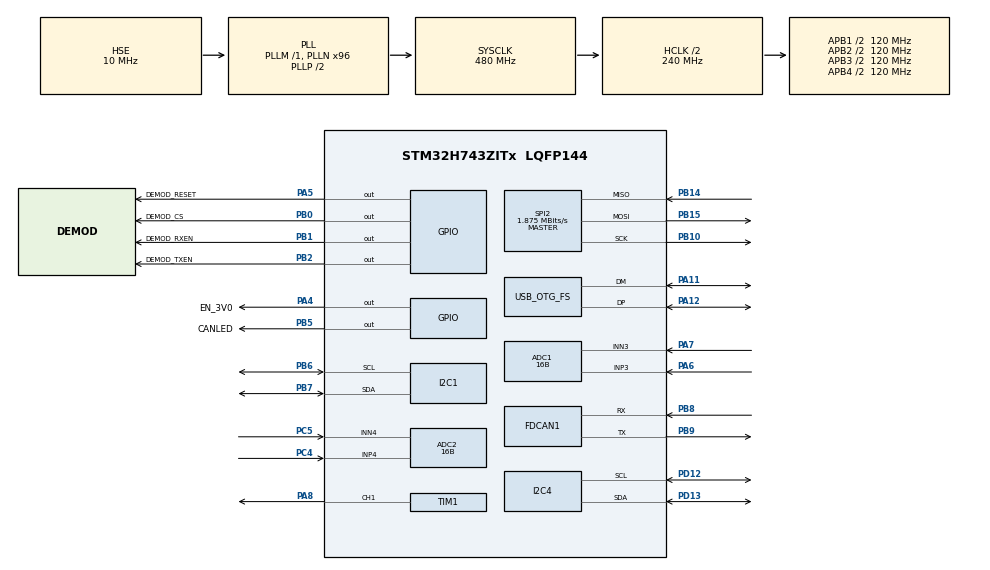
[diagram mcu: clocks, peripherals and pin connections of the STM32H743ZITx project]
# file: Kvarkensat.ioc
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ADC1.Channel-3\#ChannelRegularConversion=ADC_CHANNEL_3
ADC1.ContinuousConvMode=DISABLE
ADC1.ConversionDataManagement=ADC_CONVERSIONDATA_DMA_CIRCULAR
ADC1.DMAAccessModeView=ENABLE
ADC1.EOCSelection=ADC_EOC_SINGLE_CONV
ADC1.EnableInjectedConversion=ENABLE
ADC1.EnableRegularConversion=ENABLE
ADC1.ExternalTrigConv=ADC_EXTERNALTRIG_T2_TRGO
ADC1.InjNumberOfConversion=0
ADC1.Mode=ADC_DUALMODE_REGSIMULT
ADC1.NbrOfConversionFlag=1
ADC1.OffsetNumber-3\#ChannelRegularConversion=ADC_OFFSET_NONE
ADC1.OffsetSignedSaturation-3\#ChannelRegularConversion=DISABLE
ADC1.Overrun=ADC_OVR_DATA_OVERWRITTEN
ADC1.Rank-3\#ChannelRegularConversion=1
ADC1.Resolution=ADC_RESOLUTION_16B
ADC1.SamplingTime-3\#ChannelRegularConversion=ADC_SAMPLETIME_1CYCLE_5
ADC1.SingleDiff-3\#ChannelRegularConversion=ADC_DIFFERENTIAL_ENDED
ADC1.master=1
ADC2.Channel-3\#ChannelRegularConversion=ADC_CHANNEL_4
ADC2.ContinuousConvMode=DISABLE
ADC2.DMAAccessModeView=ENABLE
ADC2.Mode=ADC_DUALMODE_REGSIMULT
ADC2.NbrOfConversionFlag=1
ADC2.OffsetNumber-3\#ChannelRegularConversion=ADC_OFFSET_NONE
ADC2.OffsetSignedSaturation-3\#ChannelRegularConversion=DISABLE
ADC2.Overrun=ADC_OVR_DATA_OVERWRITTEN
ADC2.Rank-3\#ChannelRegularConversion=1
ADC2.Resolution=ADC_RESOLUTION_16B
ADC2.SamplingTime-3\#ChannelRegularConversion=ADC_SAMPLETIME_16CYCLES_5
ADC2.SingleDiff-3\#ChannelRegularConversion=ADC_DIFFERENTIAL_ENDED
ADC3.Channel-0\#ChannelRegularConversion=ADC_CHANNEL_TEMPSENSOR
ADC3.ClockPrescaler=ADC_CLOCK_ASYNC_DIV1
ADC3.ContinuousConvMode=ENABLE
ADC3.ConversionDataManagement=ADC_CONVERSIONDATA_DR
ADC3.DMAAccessModeView=ENABLE
ADC3.EOCSelection=ADC_EOC_SEQ_CONV
ADC3.Mode=ADC_DUALMODE_REGSIMULT
ADC3.NbrOfConversion=1
ADC3.NbrOfConversionFlag=1
ADC3.OffsetNumber-0\#ChannelRegularConversion=ADC_OFFSET_NONE
ADC3.OffsetSignedSaturation-0\#ChannelRegularConversion=DISABLE
ADC3.Overrun=ADC_OVR_DATA_OVERWRITTEN
ADC3.Rank-0\#ChannelRegularConversion=1
ADC3.Resolution=ADC_RESOLUTION_12B
ADC3.SamplingTime-0\#ChannelRegularConversion=ADC_SAMPLETIME_810CYCLES_5
Dma.ADC1.0.Direction=DMA_PERIPH_TO_MEMORY
Dma.ADC1.0.EventEnable=DISABLE
Dma.ADC1.0.FIFOMode=DMA_FIFOMODE_ENABLE
Dma.ADC1.0.FIFOThreshold=DMA_FIFO_THRESHOLD_FULL
Dma.ADC1.0.Instance=DMA2_Stream0
Dma.ADC1.0.MemBurst=DMA_MBURST_SINGLE
Dma.ADC1.0.MemDataAlignment=DMA_MDATAALIGN_HALFWORD
Dma.ADC1.0.MemInc=DMA_MINC_ENABLE
Dma.ADC1.0.Mode=DMA_CIRCULAR
Dma.ADC1.0.PeriphBurst=DMA_PBURST_SINGLE
Dma.ADC1.0.PeriphDataAlignment=DMA_PDATAALIGN_HALFWORD
Dma.ADC1.0.PeriphInc=DMA_PINC_DISABLE
Dma.ADC1.0.Polarity=HAL_DMAMUX_REQ_GEN_RISING
Dma.ADC1.0.Priority=DMA_PRIORITY_HIGH
Dma.ADC1.0.RequestNumber=1
Dma.ADC1.0.SignalID=NONE
Dma.ADC1.0.SyncEnable=DISABLE
Dma.ADC1.0.SyncPolarity=HAL_DMAMUX_SYNC_NO_EVENT
Dma.ADC1.0.SyncRequestNumber=1
Dma.ADC1.0.SyncSignalID=NONE
Dma.ADC2.1.Direction=DMA_PERIPH_TO_MEMORY
Dma.ADC2.1.EventEnable=DISABLE
Dma.ADC2.1.FIFOMode=DMA_FIFOMODE_ENABLE
Dma.ADC2.1.FIFOThreshold=DMA_FIFO_THRESHOLD_FULL
Dma.ADC2.1.Instance=DMA2_Stream1
Dma.ADC2.1.MemBurst=DMA_MBURST_SINGLE
Dma.ADC2.1.MemDataAlignment=DMA_MDATAALIGN_WORD
Dma.ADC2.1.MemInc=DMA_MINC_ENABLE
Dma.ADC2.1.Mode=DMA_CIRCULAR
Dma.ADC2.1.PeriphBurst=DMA_PBURST_SINGLE
Dma.ADC2.1.PeriphDataAlignment=DMA_PDATAALIGN_WORD
Dma.ADC2.1.PeriphInc=DMA_PINC_DISABLE
Dma.ADC2.1.Polarity=HAL_DMAMUX_REQ_GEN_RISING
Dma.ADC2.1.Priority=DMA_PRIORITY_HIGH
Dma.ADC2.1.RequestNumber=1
Dma.ADC2.1.SignalID=NONE
Dma.ADC2.1.SyncEnable=DISABLE
Dma.ADC2.1.SyncPolarity=HAL_DMAMUX_SYNC_NO_EVENT
Dma.ADC2.1.SyncRequestNumber=1
Dma.ADC2.1.SyncSignalID=NONE
Dma.Request0=ADC1
Dma.Request1=ADC2
FDCAN1.Mode=FDCAN_MODE_EXTERNAL_LOOPBACK
FDCAN1.RxFifo0ElmtsNbr=20
FDCAN1.TxFifoQueueElmtsNbr=1
I2C1.Timing=0x307075B1
I2C4.Timing=0x307075B1
Mcu.Family=STM32H7
Mcu.Name=STM32H743ZITx
Mcu.Package=LQFP144
NVIC.ADC_IRQn=true\:0\:0\:false\:false\:true\:true\:true\:true
NVIC.DMA2_Stream0_IRQn=true\:0\:0\:false\:false\:true\:false\:true\:true
NVIC.DMA2_Stream1_IRQn=true\:0\:0\:false\:false\:true\:false\:true\:true
NVIC.FDCAN1_IT0_IRQn=true\:0\:0\:false\:false\:true\:true\:true\:true
NVIC.FDCAN1_IT1_IRQn=true\:0\:0\:false\:false\:true\:true\:true\:true
NVIC.OTG_FS_IRQn=true\:0\:0\:false\:false\:true\:false\:true\:true
NVIC.PriorityGroup=NVIC_PRIORITYGROUP_4
NVIC.RCC_IRQn=true\:0\:0\:false\:false\:true\:true\:false\:true
NVIC.TIM2_IRQn=true\:0\:0\:false\:false\:true\:true\:true\:true
NVIC.TIM7_IRQn=true\:15\:0\:false\:false\:true\:false\:true\:true
NVIC.TimeBase=TIM7_IRQn
NVIC.TimeBaseIP=TIM7
PA10.Signal=USART1_RX
PA11.Mode=Device_Only
PA11.Signal=USB_OTG_FS_DM
PA12.Mode=Device_Only
PA12.Signal=USB_OTG_FS_DP
PA13\ (JTMS/SWDIO).Mode=JTAG_5_pins
PA13\ (JTMS/SWDIO).Signal=DEBUG_JTMS-SWDIO
PA14\ (JTCK/SWCLK).Mode=JTAG_5_pins
PA14\ (JTCK/SWCLK).Signal=DEBUG_JTCK-SWCLK
PA15\ (JTDI).Mode=JTAG_5_pins
PA15\ (JTDI).Signal=DEBUG_JTDI
PA4.GPIO_Label=EN_3V0
PA4.Signal=GPIO_Output
PA5.GPIO_Label=DEMOD_RESET
PA5.PinState=GPIO_PIN_SET
PA5.Signal=GPIO_Output
PA6.Signal=ADCx_INP3
PA7.Signal=ADCx_INN3
PA8.Signal=S_TIM1_CH1
PA9.Signal=USART1_TX
PB0.GPIO_Label=DEMOD_CS
PB0.PinState=GPIO_PIN_SET
PB0.Signal=GPIO_Output
PB1.GPIO_Label=DEMOD_RXEN
PB1.Signal=GPIO_Output
PB10.Mode=Full_Duplex_Master
PB10.Signal=SPI2_SCK
PB13.Signal=FDCAN2_TX
PB14.Mode=Full_Duplex_Master
PB14.Signal=SPI2_MISO
PB15.Mode=Full_Duplex_Master
PB15.Signal=SPI2_MOSI
PB2.GPIO_Label=DEMOD_TXEN
PB2.Signal=GPIO_Output
PB3\ (JTDO/TRACESWO).Mode=JTAG_5_pins
PB3\ (JTDO/TRACESWO).Signal=DEBUG_JTDO-SWO
PB4\ (NJTRST).Mode=JTAG_5_pins
PB4\ (NJTRST).Signal=DEBUG_JTRST
PB5.GPIO_Label=CANLED
PB5.Signal=GPIO_Output
PB6.GPIO_Pu=GPIO_PULLUP
PB6.Mode=I2C
PB6.Signal=I2C1_SCL
PB7.GPIO_Pu=GPIO_PULLUP
PB7.Mode=I2C
PB7.Signal=I2C1_SDA
PB8.Mode=FDCAN_Activate
PB8.Signal=FDCAN1_RX
PB9.Mode=FDCAN_Activate
PB9.Signal=FDCAN1_TX
PC0.Signal=FMC_SDNWE
PC10.Signal=SPI3_SCK
PC11.Signal=SPI3_MISO
PC12.Signal=SPI3_MOSI
PC2_C.Signal=FMC_SDNE0
PC3_C.Signal=FMC_SDCKE0
PC4.Signal=ADCx_INP4
PC5.Signal=ADCx_INN4
PD0.Signal=FMC_D2_DA2
PD1.Signal=FMC_D3_DA3
PD10.Signal=FMC_D15_DA15
PD12.GPIO_Pu=GPIO_PULLUP
PD12.Mode=I2C
PD12.Signal=I2C4_SCL
PD13.GPIO_Pu=GPIO_PULLUP
PD13.Mode=I2C
PD13.Signal=I2C4_SDA
PD14.Signal=FMC_D0_DA0
PD15.Signal=FMC_D1_DA1
PD8.Signal=FMC_D13_DA13
PD9.Signal=FMC_D14_DA14
PE10.Signal=FMC_D7_DA7
PE11.Signal=FMC_D8_DA8
PE12.Signal=FMC_D9_DA9
PE13.Signal=FMC_D10_DA10
PE14.Signal=FMC_D11_DA11
PE15.Signal=FMC_D12_DA12
PE2.Signal=SPI4_SCK
PE4.Signal=SPI4_NSS
PE5.Signal=SPI4_MISO
PE6.Signal=SPI4_MOSI
PE7.Signal=FMC_D4_DA4
PE8.Signal=FMC_D5_DA5
PE9.Signal=FMC_D6_DA6
PF0.Signal=FMC_A0
PF1.Signal=FMC_A1
PF11.Signal=FMC_SDNRAS
PF12.Signal=FMC_A6
PF13.Signal=FMC_A7
PF14.Signal=FMC_A8
PF15.Signal=FMC_A9
PF2.Signal=FMC_A2
PF3.Signal=FMC_A3
PF4.Signal=FMC_A4
PF5.Signal=FMC_A5
PG0.Signal=FMC_A10
PG1.Signal=FMC_A11
PG15.Signal=FMC_SDNCAS
PG2.Signal=FMC_A12
PG4.Signal=FMC_A14_BA0
PG5.Signal=FMC_A15_BA1
PG8.Signal=FMC_SDCLK
PH0-OSC_IN\ (PH0).Mode=HSE-External-Oscillator
PH0-OSC_IN\ (PH0).Signal=RCC_OSC_IN
PH1-OSC_OUT\ (PH1).Mode=HSE-External-Oscillator
PH1-OSC_OUT\ (PH1).Signal=RCC_OSC_OUT
ProjectManager.HeapSize=0x200
ProjectManager.StackSize=0x400
ProjectManager.TargetToolchain=STM32CubeIDE
RCC.ADCCLockSelection=RCC_ADCCLKSOURCE_PLL3
RCC.ADCFreq_Value=10000000
RCC.APB1Freq_Value=120000000
RCC.APB2Freq_Value=120000000
RCC.APB3Freq_Value=120000000
RCC.APB4Freq_Value=120000000
RCC.CortexFreq_Value=480000000
RCC.D1PPRE=RCC_APB3_DIV2
RCC.D2PPRE1=RCC_APB1_DIV2
RCC.D2PPRE2=RCC_APB2_DIV2
RCC.D3PPRE=RCC_APB4_DIV2
RCC.DIVM1=1
RCC.DIVM2=1
RCC.DIVM3=1
RCC.DIVN1=96
RCC.DIVN2=15
RCC.DIVN3=15
RCC.DIVP2=4
RCC.DIVQ1=8
RCC.DIVQ3=3
RCC.DIVR3=15
RCC.HCLKFreq_Value=240000000
RCC.HPRE=RCC_HCLK_DIV2
RCC.HSE_VALUE=10000000
RCC.PLL2FRACN=0
RCC.PLL3FRACN=0
RCC.PLLFRACN=0
RCC.PLLSourceVirtual=RCC_PLLSOURCE_HSE
RCC.ProductRev=revY
RCC.RCC_TIM_PRescaler_Selection=RCC_TIMPRES_DESACTIVATED
RCC.SYSCLKFreq_VALUE=480000000
RCC.SYSCLKSource=RCC_SYSCLKSOURCE_PLLCLK
RCC.USBCLockSelection=RCC_USBCLKSOURCE_PLL3
RCC.USBFreq_Value=50000000
SH.ADCx_INN3.0=ADC1_INN3,IN3-Differential
SH.ADCx_INN4.0=ADC2_INN4,IN4-Differential
SH.ADCx_INP3.0=ADC1_INP3,IN3-Differential
SH.ADCx_INP4.0=ADC2_INP4,IN4-Differential
SH.FMC_A0.0=FMC_A0
SH.FMC_A1.0=FMC_A1
SH.FMC_A10.0=FMC_A10
SH.FMC_A11.0=FMC_A11
SH.FMC_A12.0=FMC_A12
SH.FMC_A14_BA0.0=FMC_BA0
SH.FMC_A15_BA1.0=FMC_BA1
SH.FMC_A2.0=FMC_A2
SH.FMC_A3.0=FMC_A3
SH.FMC_A4.0=FMC_A4
SH.FMC_A5.0=FMC_A5
SH.FMC_A6.0=FMC_A6
SH.FMC_A7.0=FMC_A7
SH.FMC_A8.0=FMC_A8
SH.FMC_A9.0=FMC_A9
SH.FMC_D0_DA0.0=FMC_D0
SH.FMC_D10_DA10.0=FMC_D10
SH.FMC_D11_DA11.0=FMC_D11
SH.FMC_D12_DA12.0=FMC_D12
SH.FMC_D13_DA13.0=FMC_D13
SH.FMC_D14_DA14.0=FMC_D14
SH.FMC_D15_DA15.0=FMC_D15
SH.FMC_D1_DA1.0=FMC_D1
SH.FMC_D2_DA2.0=FMC_D2
SH.FMC_D3_DA3.0=FMC_D3
SH.FMC_D4_DA4.0=FMC_D4
SH.FMC_D5_DA5.0=FMC_D5
SH.FMC_D6_DA6.0=FMC_D6
SH.FMC_D7_DA7.0=FMC_D7
SH.FMC_D8_DA8.0=FMC_D8
SH.FMC_D9_DA9.0=FMC_D9
SH.FMC_SDCLK.0=FMC_SDCLK
SH.FMC_SDNCAS.0=FMC_SDNCAS
SH.FMC_SDNRAS.0=FMC_SDNRAS
SH.FMC_SDNWE.0=FMC_SDNWE
SH.S_TIM1_CH1.0=TIM1_CH1,Output Compare1 CH1
SPI2.BaudRatePrescaler=SPI_BAUDRATEPRESCALER_64
SPI2.CalculateBaudRate=1.875 MBits/s
SPI2.DataSize=SPI_DATASIZE_8BIT
SPI2.Direction=SPI_DIRECTION_2LINES
SPI2.Mode=SPI_MODE_MASTER
SPI2.NSSPMode=SPI_NSS_PULSE_DISABLE
SPI2.VirtualType=VM_MASTER
TIM1.Channel-Output\ Compare1\ CH1=TIM_CHANNEL_1
TIM1.Period=500-1
TIM1.TIM_MasterOutputTrigger=TIM_TRGO_UPDATE
TIM2.AutoReloadPreload=TIM_AUTORELOAD_PRELOAD_ENABLE
TIM2.Channel-Output\ Compare1\ No\ Output=TIM_CHANNEL_1
TIM2.Period=833-1
TIM2.TIM_MasterOutputTrigger=TIM_TRGO_UPDATE
USB_DEVICE.CLASS_NAME_FS=CDC
USB_DEVICE.VirtualMode-CDC_FS=Cdc
USB_DEVICE.VirtualModeFS=Cdc_FS
USB_OTG_FS.VirtualMode=Device_Only
VP_ADC3_TempSens_Input.Mode=IN-TempSens
VP_SYS_VS_tim7.Mode=TIM7
VP_TIM1_VS_ClockSourceINT.Mode=Internal
VP_TIM2_VS_ClockSourceINT.Mode=Internal
VP_TIM2_VS_no_output1.Mode=Output Compare1 No Output
VP_USB_DEVICE_VS_USB_DEVICE_CDC_FS.Mode=CDC_FS
board=custom

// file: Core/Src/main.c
/* USER CODE BEGIN Header */
/**
  ******************************************************************************
  * @file           : main.c
  * @brief          : Main program body
  ******************************************************************************
  * @attention
  *
  * Copyright (c) 2022 STMicroelectronics.
  * All rights reserved.
  *
  * This software is licensed under terms that can be found in the LICENSE file
  * in the root directory of this software component.
  * If no LICENSE file comes with this software, it is provided AS-IS.
  *
  ******************************************************************************
  */
/* USER CODE END Header */

/* USER CODE BEGIN Includes */
/* Includes ------------------------------------------------------------------*/

/* Private includes ----------------------------------------------------------*/
/* USER CODE BEGIN Includes */
#include <stdio.h>

#include "main.h"
#include "adc.h"
#include "dsp.h"
#include "dsp_testing.h"
#include "saved_signal.h"

//FreeRTOS
#include "FreeRTOS.h"
#include "task.h"
#include "timers.h"
#include "semphr.h"
#include "SEGGER_RTT.h"
#include "events.h"

//User
#include "receiver.h"
#include "debugRTT.h"
#include "can_interface.h"
/* USER CODE END Includes */

/* USER CODE BEGIN PTD */
#define TERMINAL_PRIORITY 	(tskIDLE_PRIORITY + 1)
#define BLINK_PRIORITY 		(tskIDLE_PRIORITY + 2)
#define DSP_PRIORITY		(tskIDLE_PRIORITY + 5)
#define DSP_TEST_PRIORITY	(tskIDLE_PRIORITY + 6)
#define CSP_PRIORITY		(tskIDLE_PRIORITY + 10)

#define DSP_STACK_SIZE		400	// TODO: TBD

/* USER CODE END PTD */

/* USER CODE BEGIN PD */

/* Task handle declarations */
TaskHandle_t ADCTaskHandle = NULL;
TaskHandle_t DSPTaskHandle = NULL;

/* USER CODE END PD */

 ADC_HandleTypeDef hadc1;
ADC_HandleTypeDef hadc2;
ADC_HandleTypeDef hadc3;
DMA_HandleTypeDef hdma_adc1;
DMA_HandleTypeDef hdma_adc2;

/*
FDCAN_HandleTypeDef hfdcan1;
FDCAN_RxHeaderTypeDef RxHeader; //FDCAN Bus Transmit Header
FDCAN_TxHeaderTypeDef TxHeader; //FDCAN Bus Receive Header
*/

I2C_HandleTypeDef hi2c1;
I2C_HandleTypeDef hi2c4;

SPI_HandleTypeDef hspi2;

TIM_HandleTypeDef htim1;
TIM_HandleTypeDef htim2;

/* USER CODE BEGIN PV */
volatile struct eventflags eventflags;

/* USER CODE END PV */

void SystemClock_Config(void);
void PeriphCommonClock_Config(void);
static void MX_GPIO_Init(void);
static void MX_DMA_Init(void);
static void MX_FDCAN1_Init(void);
static void MX_I2C1_Init(void);
static void MX_I2C4_Init(void);
static void MX_SPI2_Init(void);
static void MX_ADC1_Init(void);
static void MX_ADC3_Init(void);
static void MX_ADC2_Init(void);
static void MX_TIM2_Init(void);
static void MX_TIM1_Init(void);
/* USER CODE BEGIN PFP */

void PeriphCommonClock_Config(void);								// CubeMX did not generate this :(

/* USER CODE END PFP */

/* USER CODE BEGIN 0 */

/* Initializes all needed peripherials */
static void prvInitBoard()
{

	HAL_Init();
	SystemClock_Config();
	PeriphCommonClock_Config();
	MX_GPIO_Init();
	MX_DMA_Init();
	MX_FDCAN1_Init();
	MX_I2C1_Init();
	MX_I2C4_Init();
	MX_SPI2_Init();
	MX_ADC1_Init();
	MX_ADC3_Init();
	MX_ADC2_Init();
	MX_TIM1_Init();
	MX_TIM2_Init();

	SEGGER_RTT_Init();
	printf("\nConfiguring radio..\n");
	configureRadio();
	printf("Radio configured! \nPLL should be locked above^^\n\n");

	/* Set Interrupt Group Priority */
	HAL_NVIC_SetPriorityGrouping(NVIC_PRIORITYGROUP_4);
	/*Configure the SysTick and FDCAN IRQ priority */
	HAL_NVIC_SetPriority(SysTick_IRQn, 15 ,0U);
	HAL_NVIC_SetPriority(FDCAN1_IT0_IRQn, 15 ,0U);

	/* Start ADCs in Multimode DMA configuration */
	//if(HAL_ADCEx_MultiModeStart_DMA(ADCI, adcIQ.rx_buf, ADC_RX_BUF_SIZE) != HAL_OK)
	//	Error_Handler();

	/* Start TIM2 to produce interrupts for ADC conversion triggering */
	//if(HAL_TIM_OC_Start_IT(&htim2, TIM_CHANNEL_1) != HAL_OK)	// At least the timer starts and triggers interrupts. Interrupts probably are not needed in the end.
	//	Error_Handler();
}

//MEMORY MAPPING FOR FREERTOS
HeapRegion_t xHeapRegions[] = {
	//DTCMRAM	108 KB // ~20 KB reserved for HAL
	{ (uint8_t*) 0x20005000, 108000 },
	//RAM_D1	512 KB
	{ (uint8_t*) 0x24000000, 512000 },
	//RAM_D2	288 KB
	{ (uint8_t*) 0x30000000, 288000 },
	//RAM_D3	64 KB
	{ (uint8_t*) 0x38000000, 64000 },
	{NULL, 0}
};

/* USER CODE END 0 */

int main(void)
{
  /* USER CODE BEGIN 1 */

	//Nothing can be allocated before this has finished executing.
	vPortDefineHeapRegions( xHeapRegions );
	prvInitBoard();

	xTaskCreate( canTXTask, "CAN_TX", 4096, NULL, TERMINAL_PRIORITY + 1, NULL );

	/* Blinks the LED */
	//xTaskCreate( prvBlinkLED, "LED", configMINIMAL_STACK_SIZE, NULL, BLINK_PRIORITY, NULL );

	/* Moves test data in between PC (python) & µC over RTT buffers */
	//xTaskCreate( prvDSPTestingTask, "DSPtest", 100, NULL, DSP_TEST_PRIORITY, NULL );

	/* Task taking care of digital signal processing */
	//xTaskCreate( prvDSPTask, "DSP", DSP_STACK_SIZE, NULL,  DSP_PRIORITY, &DSPTaskHandle );

	/* Start the tasks and timer running. */
	vTaskStartScheduler();

	for( ;; );

  /* USER CODE END 1 */

  /* MCU Configuration--------------------------------------------------------*/

  /* Reset of all peripherals, Initializes the Flash interface and the Systick. */
  HAL_Init();

  /* Configure the system clock */
  SystemClock_Config();

  /* USER CODE BEGIN SysInit */

  /* Configure the peripherals common clocks */
  PeriphCommonClock_Config();						// CubeMX did not generate this :(

  /* USER CODE END SysInit */

  /* Initialize all configured peripherals */
  MX_GPIO_Init();
  MX_DMA_Init();
  MX_FDCAN1_Init();
  MX_I2C1_Init();
  MX_I2C4_Init();
  MX_SPI2_Init();
  MX_ADC1_Init();
  MX_ADC3_Init();
  MX_ADC2_Init();
  MX_TIM2_Init();
  MX_TIM1_Init();

  /* Infinite loop */
  while (1)
  {

  }
}

void SystemClock_Config(void)
{
  RCC_OscInitTypeDef RCC_OscInitStruct = {0};
  RCC_ClkInitTypeDef RCC_ClkInitStruct = {0};

  /** Supply configuration update enable
  */
  HAL_PWREx_ConfigSupply(PWR_LDO_SUPPLY);

  /** Configure the main internal regulator output voltage
  */
  __HAL_PWR_VOLTAGESCALING_CONFIG(PWR_REGULATOR_VOLTAGE_SCALE0);

  while(!__HAL_PWR_GET_FLAG(PWR_FLAG_VOSRDY)) {}

  /** Macro to configure the PLL clock source
  */
  __HAL_RCC_PLL_PLLSOURCE_CONFIG(RCC_PLLSOURCE_HSE);

  /** Initializes the RCC Oscillators according to the specified parameters
  * in the RCC_OscInitTypeDef structure.
  */
  RCC_OscInitStruct.OscillatorType = RCC_OSCILLATORTYPE_HSE;
  RCC_OscInitStruct.HSEState = RCC_HSE_ON;
  RCC_OscInitStruct.PLL.PLLState = RCC_PLL_ON;
  RCC_OscInitStruct.PLL.PLLSource = RCC_PLLSOURCE_HSE;
  RCC_OscInitStruct.PLL.PLLM = 1;
  RCC_OscInitStruct.PLL.PLLN = 96;
  RCC_OscInitStruct.PLL.PLLP = 2;
  RCC_OscInitStruct.PLL.PLLQ = 8;
  RCC_OscInitStruct.PLL.PLLR = 2;
  RCC_OscInitStruct.PLL.PLLRGE = RCC_PLL1VCIRANGE_3;
  RCC_OscInitStruct.PLL.PLLVCOSEL = RCC_PLL1VCOWIDE;
  RCC_OscInitStruct.PLL.PLLFRACN = 0;
  if (HAL_RCC_OscConfig(&RCC_OscInitStruct) != HAL_OK)
  {
    Error_Handler();
  }

  /** Initializes the CPU, AHB and APB buses clocks
  */
  RCC_ClkInitStruct.ClockType = RCC_CLOCKTYPE_HCLK|RCC_CLOCKTYPE_SYSCLK
                              |RCC_CLOCKTYPE_PCLK1|RCC_CLOCKTYPE_PCLK2
                              |RCC_CLOCKTYPE_D3PCLK1|RCC_CLOCKTYPE_D1PCLK1;
  RCC_ClkInitStruct.SYSCLKSource = RCC_SYSCLKSOURCE_PLLCLK;
  RCC_ClkInitStruct.SYSCLKDivider = RCC_SYSCLK_DIV1;
  RCC_ClkInitStruct.AHBCLKDivider = RCC_HCLK_DIV2;
  RCC_ClkInitStruct.APB3CLKDivider = RCC_APB3_DIV2;
  RCC_ClkInitStruct.APB1CLKDivider = RCC_APB1_DIV2;
  RCC_ClkInitStruct.APB2CLKDivider = RCC_APB2_DIV2;
  RCC_ClkInitStruct.APB4CLKDivider = RCC_APB4_DIV2;

  if (HAL_RCC_ClockConfig(&RCC_ClkInitStruct, FLASH_LATENCY_4) != HAL_OK)
  {
    Error_Handler();
  }
}

static void MX_ADC1_Init(void)
{

  ADC_MultiModeTypeDef multimode = {0};
  ADC_ChannelConfTypeDef sConfig = {0};

  /** Common config
  */
  hadc1.Instance = ADC1;
  hadc1.Init.Resolution = ADC_RESOLUTION_16B;
  hadc1.Init.ScanConvMode = ADC_SCAN_DISABLE;
  hadc1.Init.EOCSelection = ADC_EOC_SINGLE_CONV;
  hadc1.Init.LowPowerAutoWait = DISABLE;
  hadc1.Init.ContinuousConvMode = DISABLE;
  hadc1.Init.NbrOfConversion = 1;
  hadc1.Init.DiscontinuousConvMode = DISABLE;
  hadc1.Init.ExternalTrigConv = ADC_EXTERNALTRIG_T2_TRGO;
  hadc1.Init.ExternalTrigConvEdge = ADC_EXTERNALTRIGCONVEDGE_RISING;
  hadc1.Init.ConversionDataManagement = ADC_CONVERSIONDATA_DMA_CIRCULAR;
  hadc1.Init.Overrun = ADC_OVR_DATA_OVERWRITTEN;
  hadc1.Init.LeftBitShift = ADC_LEFTBITSHIFT_NONE;
  hadc1.Init.OversamplingMode = DISABLE;
  if (HAL_ADC_Init(&hadc1) != HAL_OK)
  {
    Error_Handler();
  }

  /** Configure the ADC multi-mode
  */
  multimode.Mode = ADC_DUALMODE_REGSIMULT;
  multimode.DualModeData = ADC_DUALMODEDATAFORMAT_32_10_BITS;
  multimode.TwoSamplingDelay = ADC_TWOSAMPLINGDELAY_1CYCLE;
  if (HAL_ADCEx_MultiModeConfigChannel(&hadc1, &multimode) != HAL_OK)
  {
    Error_Handler();
  }

  /** Configure Regular Channel
  */
  sConfig.Channel = ADC_CHANNEL_3;
  sConfig.Rank = ADC_REGULAR_RANK_1;
  sConfig.SamplingTime = ADC_SAMPLETIME_1CYCLE_5;
  sConfig.SingleDiff = ADC_DIFFERENTIAL_ENDED;
  sConfig.OffsetNumber = ADC_OFFSET_NONE;
  sConfig.Offset = 0;
  sConfig.OffsetSignedSaturation = DISABLE;
  if (HAL_ADC_ConfigChannel(&hadc1, &sConfig) != HAL_OK)
  {
    Error_Handler();
  }

}

static void MX_ADC2_Init(void)
{

  ADC_ChannelConfTypeDef sConfig = {0};

  /** Common config
  */
  hadc2.Instance = ADC2;
  hadc2.Init.Resolution = ADC_RESOLUTION_16B;
  hadc2.Init.ScanConvMode = ADC_SCAN_DISABLE;
  hadc2.Init.EOCSelection = ADC_EOC_SINGLE_CONV;
  hadc2.Init.LowPowerAutoWait = DISABLE;
  hadc2.Init.ContinuousConvMode = DISABLE;
  hadc2.Init.NbrOfConversion = 1;
  hadc2.Init.DiscontinuousConvMode = DISABLE;
  hadc2.Init.ConversionDataManagement = ADC_CONVERSIONDATA_DR;
  hadc2.Init.Overrun = ADC_OVR_DATA_OVERWRITTEN;
  hadc2.Init.LeftBitShift = ADC_LEFTBITSHIFT_NONE;
  hadc2.Init.OversamplingMode = DISABLE;
  if (HAL_ADC_Init(&hadc2) != HAL_OK)
  {
    Error_Handler();
  }

  /** Configure Regular Channel
  */
  sConfig.Channel = ADC_CHANNEL_4;
  sConfig.Rank = ADC_REGULAR_RANK_1;
  sConfig.SamplingTime = ADC_SAMPLETIME_16CYCLES_5;
  sConfig.SingleDiff = ADC_DIFFERENTIAL_ENDED;
  sConfig.OffsetNumber = ADC_OFFSET_NONE;
  sConfig.Offset = 0;
  sConfig.OffsetSignedSaturation = DISABLE;
  if (HAL_ADC_ConfigChannel(&hadc2, &sConfig) != HAL_OK)
  {
    Error_Handler();
  }

}

static void MX_ADC3_Init(void)
{

  ADC_ChannelConfTypeDef sConfig = {0};

  /** Common config
  */
  hadc3.Instance = ADC3;
  hadc3.Init.ClockPrescaler = ADC_CLOCK_ASYNC_DIV1;
  hadc3.Init.Resolution = ADC_RESOLUTION_12B;
  hadc3.Init.ScanConvMode = ADC_SCAN_DISABLE;
  hadc3.Init.EOCSelection = ADC_EOC_SEQ_CONV;
  hadc3.Init.LowPowerAutoWait = DISABLE;
  hadc3.Init.ContinuousConvMode = ENABLE;
  hadc3.Init.NbrOfConversion = 1;
  hadc3.Init.DiscontinuousConvMode = DISABLE;
  hadc3.Init.ExternalTrigConv = ADC_SOFTWARE_START;
  hadc3.Init.ExternalTrigConvEdge = ADC_EXTERNALTRIGCONVEDGE_NONE;
  hadc3.Init.ConversionDataManagement = ADC_CONVERSIONDATA_DR;
  hadc3.Init.Overrun = ADC_OVR_DATA_OVERWRITTEN;
  hadc3.Init.LeftBitShift = ADC_LEFTBITSHIFT_NONE;
  hadc3.Init.OversamplingMode = DISABLE;
  if (HAL_ADC_Init(&hadc3) != HAL_OK)
  {
    Error_Handler();
  }

  /** Configure Regular Channel
  */
  sConfig.Channel = ADC_CHANNEL_TEMPSENSOR;
  sConfig.Rank = ADC_REGULAR_RANK_1;
  sConfig.SamplingTime = ADC_SAMPLETIME_810CYCLES_5;
  sConfig.SingleDiff = ADC_SINGLE_ENDED;
  sConfig.OffsetNumber = ADC_OFFSET_NONE;
  sConfig.Offset = 0;
  sConfig.OffsetSignedSaturation = DISABLE;
  if (HAL_ADC_ConfigChannel(&hadc3, &sConfig) != HAL_OK)
  {
    Error_Handler();
  }

}

static void MX_FDCAN1_Init(void)
{

  /* USER CODE BEGIN FDCAN1_Init 0 */

	TxHeader.Identifier = 0x6;
	TxHeader.IdType = FDCAN_STANDARD_ID;
	TxHeader.TxFrameType = FDCAN_DATA_FRAME;
	TxHeader.DataLength = FDCAN_DLC_BYTES_8;
	TxHeader.ErrorStateIndicator = FDCAN_ESI_ACTIVE;
	TxHeader.BitRateSwitch = FDCAN_BRS_OFF;
	TxHeader.FDFormat = FDCAN_CLASSIC_CAN;
	TxHeader.TxEventFifoControl = FDCAN_NO_TX_EVENTS;
	TxHeader.MessageMarker = 0;

	FDCAN_FilterTypeDef sFilterConfig;
	/* Configure Rx filter */
	sFilterConfig.IdType = FDCAN_STANDARD_ID;
	sFilterConfig.FilterIndex = 0;
	sFilterConfig.FilterType = FDCAN_FILTER_MASK;
	sFilterConfig.FilterConfig = FDCAN_FILTER_TO_RXFIFO0;
	sFilterConfig.FilterID1 = 0x1;
	//sFilterConfig.FilterID2 = 0x7FF;

  /* USER CODE END FDCAN1_Init 0 */

  hfdcan1.Instance = FDCAN1;
  hfdcan1.Init.FrameFormat = FDCAN_FRAME_CLASSIC;
  //hfdcan1.Init.Mode = FDCAN_MODE_EXTERNAL_LOOPBACK;
  hfdcan1.Init.Mode = FDCAN_MODE_NORMAL;
  hfdcan1.Init.AutoRetransmission = ENABLE;
  hfdcan1.Init.TransmitPause = DISABLE;
  hfdcan1.Init.ProtocolException = ENABLE;
  hfdcan1.Init.NominalPrescaler = 2;
  hfdcan1.Init.NominalSyncJumpWidth = 1;
  hfdcan1.Init.NominalTimeSeg1 = 80;
  hfdcan1.Init.NominalTimeSeg2 = 39;
  //hfdcan1.Init.DataPrescaler = 2;
  //hfdcan1.Init.DataSyncJumpWidth = 1;
  //hfdcan1.Init.DataTimeSeg1 = 13;
  //hfdcan1.Init.DataTimeSeg2 = 2;
  hfdcan1.Init.MessageRAMOffset = 0;
  hfdcan1.Init.StdFiltersNbr = 1;
  hfdcan1.Init.ExtFiltersNbr = 0;
  hfdcan1.Init.RxFifo0ElmtsNbr = 1;
  hfdcan1.Init.RxFifo0ElmtSize = FDCAN_DATA_BYTES_8;
  hfdcan1.Init.RxFifo1ElmtsNbr = 0;
  hfdcan1.Init.RxFifo1ElmtSize = FDCAN_DATA_BYTES_8;
  hfdcan1.Init.RxBuffersNbr = 1;
  hfdcan1.Init.RxBufferSize = FDCAN_DATA_BYTES_8;
  hfdcan1.Init.TxEventsNbr = 1;
  hfdcan1.Init.TxBuffersNbr = 1;
  hfdcan1.Init.TxFifoQueueElmtsNbr = 1;
  hfdcan1.Init.TxFifoQueueMode = FDCAN_TX_FIFO_OPERATION;
  hfdcan1.Init.TxElmtSize = FDCAN_DATA_BYTES_8;
  if (HAL_FDCAN_Init(&hfdcan1) != HAL_OK)
  {
    Error_Handler();
  }
  /* USER CODE BEGIN FDCAN1_Init 2 */
	if (HAL_FDCAN_ConfigFilter(&hfdcan1, &sFilterConfig) != HAL_OK) {
		Error_Handler();
	}

  	HAL_FDCAN_ConfigGlobalFilter(&hfdcan1, FDCAN_REJECT, FDCAN_REJECT, FDCAN_REJECT_REMOTE, FDCAN_REJECT_REMOTE);

	if (HAL_FDCAN_Start(&hfdcan1) != HAL_OK)
	{
		Error_Handler();
	}
	/* Activate FDCAN notifications */
	HAL_FDCAN_ActivateNotification(&hfdcan1, FDCAN_IT_RX_FIFO0_NEW_MESSAGE, 0);

  /* USER CODE END FDCAN1_Init 2 */

}

static void MX_I2C1_Init(void)
{

  hi2c1.Instance = I2C1;
  hi2c1.Init.Timing = 0x307075B1;
  hi2c1.Init.OwnAddress1 = 0;
  hi2c1.Init.AddressingMode = I2C_ADDRESSINGMODE_7BIT;
  hi2c1.Init.DualAddressMode = I2C_DUALADDRESS_DISABLE;
  hi2c1.Init.OwnAddress2 = 0;
  hi2c1.Init.OwnAddress2Masks = I2C_OA2_NOMASK;
  hi2c1.Init.GeneralCallMode = I2C_GENERALCALL_DISABLE;
  hi2c1.Init.NoStretchMode = I2C_NOSTRETCH_DISABLE;
  if (HAL_I2C_Init(&hi2c1) != HAL_OK)
  {
    Error_Handler();
  }

  /** Configure Analogue filter
  */
  if (HAL_I2CEx_ConfigAnalogFilter(&hi2c1, I2C_ANALOGFILTER_ENABLE) != HAL_OK)
  {
    Error_Handler();
  }

  /** Configure Digital filter
  */
  if (HAL_I2CEx_ConfigDigitalFilter(&hi2c1, 0) != HAL_OK)
  {
    Error_Handler();
  }

}

static void MX_I2C4_Init(void)
{

  hi2c4.Instance = I2C4;
  hi2c4.Init.Timing = 0x307075B1;
  hi2c4.Init.OwnAddress1 = 0;
  hi2c4.Init.AddressingMode = I2C_ADDRESSINGMODE_7BIT;
  hi2c4.Init.DualAddressMode = I2C_DUALADDRESS_DISABLE;
  hi2c4.Init.OwnAddress2 = 0;
  hi2c4.Init.OwnAddress2Masks = I2C_OA2_NOMASK;
  hi2c4.Init.GeneralCallMode = I2C_GENERALCALL_DISABLE;
  hi2c4.Init.NoStretchMode = I2C_NOSTRETCH_DISABLE;
  if (HAL_I2C_Init(&hi2c4) != HAL_OK)
  {
    Error_Handler();
  }

  /** Configure Analogue filter
  */
  if (HAL_I2CEx_ConfigAnalogFilter(&hi2c4, I2C_ANALOGFILTER_ENABLE) != HAL_OK)
  {
    Error_Handler();
  }

  /** Configure Digital filter
  */
  if (HAL_I2CEx_ConfigDigitalFilter(&hi2c4, 0) != HAL_OK)
  {
    Error_Handler();
  }

}

static void MX_SPI2_Init(void)
{

  /* SPI2 parameter configuration*/
  hspi2.Instance = SPI2;
  hspi2.Init.Mode = SPI_MODE_MASTER;
  hspi2.Init.Direction = SPI_DIRECTION_2LINES;
  hspi2.Init.DataSize = SPI_DATASIZE_8BIT;
  hspi2.Init.CLKPolarity = SPI_POLARITY_LOW;
  hspi2.Init.CLKPhase = SPI_PHASE_1EDGE;
  hspi2.Init.NSS = SPI_NSS_SOFT;
  hspi2.Init.BaudRatePrescaler = SPI_BAUDRATEPRESCALER_64;
  hspi2.Init.FirstBit = SPI_FIRSTBIT_MSB;
  hspi2.Init.TIMode = SPI_TIMODE_DISABLE;
  hspi2.Init.CRCCalculation = SPI_CRCCALCULATION_DISABLE;
  hspi2.Init.CRCPolynomial = 0x0;
  hspi2.Init.NSSPMode = SPI_NSS_PULSE_DISABLE;
  hspi2.Init.NSSPolarity = SPI_NSS_POLARITY_LOW;
  hspi2.Init.FifoThreshold = SPI_FIFO_THRESHOLD_01DATA;
  hspi2.Init.TxCRCInitializationPattern = SPI_CRC_INITIALIZATION_ALL_ZERO_PATTERN;
  hspi2.Init.RxCRCInitializationPattern = SPI_CRC_INITIALIZATION_ALL_ZERO_PATTERN;
  hspi2.Init.MasterSSIdleness = SPI_MASTER_SS_IDLENESS_00CYCLE;
  hspi2.Init.MasterInterDataIdleness = SPI_MASTER_INTERDATA_IDLENESS_00CYCLE;
  hspi2.Init.MasterReceiverAutoSusp = SPI_MASTER_RX_AUTOSUSP_DISABLE;
  hspi2.Init.MasterKeepIOState = SPI_MASTER_KEEP_IO_STATE_DISABLE;
  hspi2.Init.IOSwap = SPI_IO_SWAP_DISABLE;
  if (HAL_SPI_Init(&hspi2) != HAL_OK)
  {
    Error_Handler();
  }

}

static void MX_TIM1_Init(void)
{

  TIM_ClockConfigTypeDef sClockSourceConfig = {0};
  TIM_MasterConfigTypeDef sMasterConfig = {0};
  TIM_OC_InitTypeDef sConfigOC = {0};
  TIM_BreakDeadTimeConfigTypeDef sBreakDeadTimeConfig = {0};

  /* USER CODE BEGIN TIM1_Init 1 */
  // tim clock 240 MHz
  /* USER CODE END TIM1_Init 1 */
  htim1.Instance = TIM1;
  htim1.Init.Prescaler = 0;
  htim1.Init.CounterMode = TIM_COUNTERMODE_UP;
  htim1.Init.Period = 500-1;
  htim1.Init.ClockDivision = TIM_CLOCKDIVISION_DIV1;
  htim1.Init.RepetitionCounter = 0;
  htim1.Init.AutoReloadPreload = TIM_AUTORELOAD_PRELOAD_DISABLE;
  if (HAL_TIM_Base_Init(&htim1) != HAL_OK)
  {
    Error_Handler();
  }
  sClockSourceConfig.ClockSource = TIM_CLOCKSOURCE_INTERNAL;
  if (HAL_TIM_ConfigClockSource(&htim1, &sClockSourceConfig) != HAL_OK)
  {
    Error_Handler();
  }
  if (HAL_TIM_OC_Init(&htim1) != HAL_OK)
  {
    Error_Handler();
  }
  sMasterConfig.MasterOutputTrigger = TIM_TRGO_UPDATE;
  sMasterConfig.MasterOutputTrigger2 = TIM_TRGO2_RESET;
  sMasterConfig.MasterSlaveMode = TIM_MASTERSLAVEMODE_DISABLE;
  if (HAL_TIMEx_MasterConfigSynchronization(&htim1, &sMasterConfig) != HAL_OK)
  {
    Error_Handler();
  }
  sConfigOC.OCMode = TIM_OCMODE_TIMING;
  sConfigOC.Pulse = 0;
  sConfigOC.OCPolarity = TIM_OCPOLARITY_HIGH;
  sConfigOC.OCNPolarity = TIM_OCNPOLARITY_HIGH;
  sConfigOC.OCFastMode = TIM_OCFAST_DISABLE;
  sConfigOC.OCIdleState = TIM_OCIDLESTATE_RESET;
  sConfigOC.OCNIdleState = TIM_OCNIDLESTATE_RESET;
  if (HAL_TIM_OC_ConfigChannel(&htim1, &sConfigOC, TIM_CHANNEL_1) != HAL_OK)
  {
    Error_Handler();
  }
  sBreakDeadTimeConfig.OffStateRunMode = TIM_OSSR_DISABLE;
  sBreakDeadTimeConfig.OffStateIDLEMode = TIM_OSSI_DISABLE;
  sBreakDeadTimeConfig.LockLevel = TIM_LOCKLEVEL_OFF;
  sBreakDeadTimeConfig.DeadTime = 0;
  sBreakDeadTimeConfig.BreakState = TIM_BREAK_DISABLE;
  sBreakDeadTimeConfig.BreakPolarity = TIM_BREAKPOLARITY_HIGH;
  sBreakDeadTimeConfig.BreakFilter = 0;
  sBreakDeadTimeConfig.Break2State = TIM_BREAK2_DISABLE;
  sBreakDeadTimeConfig.Break2Polarity = TIM_BREAK2POLARITY_HIGH;
  sBreakDeadTimeConfig.Break2Filter = 0;
  sBreakDeadTimeConfig.AutomaticOutput = TIM_AUTOMATICOUTPUT_DISABLE;
  if (HAL_TIMEx_ConfigBreakDeadTime(&htim1, &sBreakDeadTimeConfig) != HAL_OK)
  {
    Error_Handler();
  }
  HAL_TIM_MspPostInit(&htim1);

}

static void MX_TIM2_Init(void)
{

  TIM_ClockConfigTypeDef sClockSourceConfig = {0};
  TIM_MasterConfigTypeDef sMasterConfig = {0};
  TIM_OC_InitTypeDef sConfigOC = {0};

  htim2.Instance = TIM2;
  htim2.Init.Prescaler = 0;
  htim2.Init.CounterMode = TIM_COUNTERMODE_UP;
  htim2.Init.Period = 833-1;
  htim2.Init.ClockDivision = TIM_CLOCKDIVISION_DIV1;
  htim2.Init.AutoReloadPreload = TIM_AUTORELOAD_PRELOAD_ENABLE;
  if (HAL_TIM_Base_Init(&htim2) != HAL_OK)
  {
    Error_Handler();
  }
  sClockSourceConfig.ClockSource = TIM_CLOCKSOURCE_INTERNAL;
  if (HAL_TIM_ConfigClockSource(&htim2, &sClockSourceConfig) != HAL_OK)
  {
    Error_Handler();
  }
  if (HAL_TIM_OC_Init(&htim2) != HAL_OK)
  {
    Error_Handler();
  }
  sMasterConfig.MasterOutputTrigger = TIM_TRGO_UPDATE;
  sMasterConfig.MasterSlaveMode = TIM_MASTERSLAVEMODE_DISABLE;
  if (HAL_TIMEx_MasterConfigSynchronization(&htim2, &sMasterConfig) != HAL_OK)
  {
    Error_Handler();
  }
  sConfigOC.OCMode = TIM_OCMODE_TIMING;
  sConfigOC.Pulse = 0;
  sConfigOC.OCPolarity = TIM_OCPOLARITY_HIGH;
  sConfigOC.OCFastMode = TIM_OCFAST_DISABLE;
  if (HAL_TIM_OC_ConfigChannel(&htim2, &sConfigOC, TIM_CHANNEL_1) != HAL_OK)
  {
    Error_Handler();
  }

}

static void MX_DMA_Init(void)
{

  /* DMA controller clock enable */
  __HAL_RCC_DMA2_CLK_ENABLE();

  /* DMA interrupt init */
  /* DMA2_Stream0_IRQn interrupt configuration */
  HAL_NVIC_SetPriority(DMA2_Stream0_IRQn, 0, 0);
  HAL_NVIC_EnableIRQ(DMA2_Stream0_IRQn);
  /* DMA2_Stream1_IRQn interrupt configuration */
  HAL_NVIC_SetPriority(DMA2_Stream1_IRQn, 0, 0);
  HAL_NVIC_EnableIRQ(DMA2_Stream1_IRQn);

}

static void MX_GPIO_Init(void)
{
  GPIO_InitTypeDef GPIO_InitStruct = {0};

  /* GPIO Ports Clock Enable */
  __HAL_RCC_GPIOE_CLK_ENABLE();
  __HAL_RCC_GPIOC_CLK_ENABLE();
  __HAL_RCC_GPIOF_CLK_ENABLE();
  __HAL_RCC_GPIOH_CLK_ENABLE();
  __HAL_RCC_GPIOA_CLK_ENABLE();
  __HAL_RCC_GPIOB_CLK_ENABLE();
  __HAL_RCC_GPIOG_CLK_ENABLE();
  __HAL_RCC_GPIOD_CLK_ENABLE();

  /*Configure GPIO pin Output Level */
  HAL_GPIO_WritePin(EN_3V0_GPIO_Port, EN_3V0_Pin, GPIO_PIN_RESET);

  /*Configure GPIO pin Output Level */
  HAL_GPIO_WritePin(DEMOD_RESET_GPIO_Port, DEMOD_RESET_Pin, GPIO_PIN_SET);

  /*Configure GPIO pin Output Level */
  HAL_GPIO_WritePin(DEMOD_CS_GPIO_Port, DEMOD_CS_Pin, GPIO_PIN_SET);

  /*Configure GPIO pin Output Level */
  HAL_GPIO_WritePin(GPIOB, DEMOD_RXEN_Pin|DEMOD_TXEN_Pin|CANLED_Pin, GPIO_PIN_RESET);

  /*Configure GPIO pins : PE2 PE4 PE5 PE6 */
  GPIO_InitStruct.Pin = GPIO_PIN_2|GPIO_PIN_4|GPIO_PIN_5|GPIO_PIN_6;
  GPIO_InitStruct.Mode = GPIO_MODE_AF_PP;
  GPIO_InitStruct.Pull = GPIO_NOPULL;
  GPIO_InitStruct.Speed = GPIO_SPEED_FREQ_LOW;
  GPIO_InitStruct.Alternate = GPIO_AF5_SPI4;
  HAL_GPIO_Init(GPIOE, &GPIO_InitStruct);

  /*Configure GPIO pins : PE3 PE0 PE1 */
  GPIO_InitStruct.Pin = GPIO_PIN_3|GPIO_PIN_0|GPIO_PIN_1;
  GPIO_InitStruct.Mode = GPIO_MODE_ANALOG;
  GPIO_InitStruct.Pull = GPIO_NOPULL;
  HAL_GPIO_Init(GPIOE, &GPIO_InitStruct);

  /*Configure GPIO pins : PC13 PC14 PC15 PC1
                           PC6 PC7 PC8 PC9 */
  GPIO_InitStruct.Pin = GPIO_PIN_13|GPIO_PIN_14|GPIO_PIN_15|GPIO_PIN_1
                          |GPIO_PIN_6|GPIO_PIN_7|GPIO_PIN_8|GPIO_PIN_9;
  GPIO_InitStruct.Mode = GPIO_MODE_ANALOG;
  GPIO_InitStruct.Pull = GPIO_NOPULL;
  HAL_GPIO_Init(GPIOC, &GPIO_InitStruct);

  /*Configure GPIO pins : PF0 PF1 PF2 PF3
                           PF4 PF5 PF11 PF12
                           PF13 PF14 PF15 */
  GPIO_InitStruct.Pin = GPIO_PIN_0|GPIO_PIN_1|GPIO_PIN_2|GPIO_PIN_3
                          |GPIO_PIN_4|GPIO_PIN_5|GPIO_PIN_11|GPIO_PIN_12
                          |GPIO_PIN_13|GPIO_PIN_14|GPIO_PIN_15;
  GPIO_InitStruct.Mode = GPIO_MODE_AF_PP;
  GPIO_InitStruct.Pull = GPIO_NOPULL;
  GPIO_InitStruct.Speed = GPIO_SPEED_FREQ_VERY_HIGH;
  GPIO_InitStruct.Alternate = GPIO_AF12_FMC;
  HAL_GPIO_Init(GPIOF, &GPIO_InitStruct);

  /*Configure GPIO pins : PF6 PF7 PF8 PF9
                           PF10 */
  GPIO_InitStruct.Pin = GPIO_PIN_6|GPIO_PIN_7|GPIO_PIN_8|GPIO_PIN_9
                          |GPIO_PIN_10;
  GPIO_InitStruct.Mode = GPIO_MODE_ANALOG;
  GPIO_InitStruct.Pull = GPIO_NOPULL;
  HAL_GPIO_Init(GPIOF, &GPIO_InitStruct);

  /*Configure GPIO pins : PC0 PC2 PC3 */
  GPIO_InitStruct.Pin = GPIO_PIN_0|GPIO_PIN_2|GPIO_PIN_3;
  GPIO_InitStruct.Mode = GPIO_MODE_AF_PP;
  GPIO_InitStruct.Pull = GPIO_NOPULL;
  GPIO_InitStruct.Speed = GPIO_SPEED_FREQ_VERY_HIGH;
  GPIO_InitStruct.Alternate = GPIO_AF12_FMC;
  HAL_GPIO_Init(GPIOC, &GPIO_InitStruct);

  /*Configure GPIO pins : PA0 PA1 PA2 PA3 */
  GPIO_InitStruct.Pin = GPIO_PIN_0|GPIO_PIN_1|GPIO_PIN_2|GPIO_PIN_3;
  GPIO_InitStruct.Mode = GPIO_MODE_ANALOG;
  GPIO_InitStruct.Pull = GPIO_NOPULL;
  HAL_GPIO_Init(GPIOA, &GPIO_InitStruct);

  /*Configure GPIO pins : EN_3V0_Pin DEMOD_RESET_Pin */
  GPIO_InitStruct.Pin = EN_3V0_Pin|DEMOD_RESET_Pin;
  GPIO_InitStruct.Mode = GPIO_MODE_OUTPUT_PP;
  GPIO_InitStruct.Pull = GPIO_NOPULL;
  GPIO_InitStruct.Speed = GPIO_SPEED_FREQ_LOW;
  HAL_GPIO_Init(GPIOA, &GPIO_InitStruct);

  /*Configure GPIO pins : DEMOD_CS_Pin DEMOD_RXEN_Pin DEMOD_TXEN_Pin CANLED_Pin */
  GPIO_InitStruct.Pin = DEMOD_CS_Pin|DEMOD_RXEN_Pin|DEMOD_TXEN_Pin|CANLED_Pin;
  GPIO_InitStruct.Mode = GPIO_MODE_OUTPUT_PP;
  GPIO_InitStruct.Pull = GPIO_NOPULL;
  GPIO_InitStruct.Speed = GPIO_SPEED_FREQ_LOW;
  HAL_GPIO_Init(GPIOB, &GPIO_InitStruct);

  /*Configure GPIO pins : PG0 PG1 PG2 PG4
                           PG5 PG8 PG15 */
  GPIO_InitStruct.Pin = GPIO_PIN_0|GPIO_PIN_1|GPIO_PIN_2|GPIO_PIN_4
                          |GPIO_PIN_5|GPIO_PIN_8|GPIO_PIN_15;
  GPIO_InitStruct.Mode = GPIO_MODE_AF_PP;
  GPIO_InitStruct.Pull = GPIO_NOPULL;
  GPIO_InitStruct.Speed = GPIO_SPEED_FREQ_VERY_HIGH;
  GPIO_InitStruct.Alternate = GPIO_AF12_FMC;
  HAL_GPIO_Init(GPIOG, &GPIO_InitStruct);

  /*Configure GPIO pins : PE7 PE8 PE9 PE10
                           PE11 PE12 PE13 PE14
                           PE15 */
  GPIO_InitStruct.Pin = GPIO_PIN_7|GPIO_PIN_8|GPIO_PIN_9|GPIO_PIN_10
                          |GPIO_PIN_11|GPIO_PIN_12|GPIO_PIN_13|GPIO_PIN_14
                          |GPIO_PIN_15;
  GPIO_InitStruct.Mode = GPIO_MODE_AF_PP;
  GPIO_InitStruct.Pull = GPIO_NOPULL;
  GPIO_InitStruct.Speed = GPIO_SPEED_FREQ_VERY_HIGH;
  GPIO_InitStruct.Alternate = GPIO_AF12_FMC;
  HAL_GPIO_Init(GPIOE, &GPIO_InitStruct);

  /*Configure GPIO pins : PB11 PB12 */
  GPIO_InitStruct.Pin = GPIO_PIN_11|GPIO_PIN_12;
  GPIO_InitStruct.Mode = GPIO_MODE_ANALOG;
  GPIO_InitStruct.Pull = GPIO_NOPULL;
  HAL_GPIO_Init(GPIOB, &GPIO_InitStruct);

  /*Configure GPIO pin : PB13 */
  GPIO_InitStruct.Pin = GPIO_PIN_13;
  GPIO_InitStruct.Mode = GPIO_MODE_AF_PP;
  GPIO_InitStruct.Pull = GPIO_NOPULL;
  GPIO_InitStruct.Speed = GPIO_SPEED_FREQ_LOW;
  GPIO_InitStruct.Alternate = GPIO_AF9_FDCAN2;
  HAL_GPIO_Init(GPIOB, &GPIO_InitStruct);

  /*Configure GPIO pins : PD8 PD9 PD10 PD14
                           PD15 PD0 PD1 */
  GPIO_InitStruct.Pin = GPIO_PIN_8|GPIO_PIN_9|GPIO_PIN_10|GPIO_PIN_14
                          |GPIO_PIN_15|GPIO_PIN_0|GPIO_PIN_1;
  GPIO_InitStruct.Mode = GPIO_MODE_AF_PP;
  GPIO_InitStruct.Pull = GPIO_NOPULL;
  GPIO_InitStruct.Speed = GPIO_SPEED_FREQ_VERY_HIGH;
  GPIO_InitStruct.Alternate = GPIO_AF12_FMC;
  HAL_GPIO_Init(GPIOD, &GPIO_InitStruct);

  /*Configure GPIO pins : PD11 PD2 PD3 PD4
                           PD5 PD6 PD7 */
  GPIO_InitStruct.Pin = GPIO_PIN_11|GPIO_PIN_2|GPIO_PIN_3|GPIO_PIN_4
                          |GPIO_PIN_5|GPIO_PIN_6|GPIO_PIN_7;
  GPIO_InitStruct.Mode = GPIO_MODE_ANALOG;
  GPIO_InitStruct.Pull = GPIO_NOPULL;
  HAL_GPIO_Init(GPIOD, &GPIO_InitStruct);

  /*Configure GPIO pins : PG3 PG6 PG7 PG9
                           PG10 PG11 PG12 PG13
                           PG14 */
  GPIO_InitStruct.Pin = GPIO_PIN_3|GPIO_PIN_6|GPIO_PIN_7|GPIO_PIN_9
                          |GPIO_PIN_10|GPIO_PIN_11|GPIO_PIN_12|GPIO_PIN_13
                          |GPIO_PIN_14;
  GPIO_InitStruct.Mode = GPIO_MODE_ANALOG;
  GPIO_InitStruct.Pull = GPIO_NOPULL;
  HAL_GPIO_Init(GPIOG, &GPIO_InitStruct);

  /*Configure GPIO pins : PA9 PA10 */
  GPIO_InitStruct.Pin = GPIO_PIN_9|GPIO_PIN_10;
  GPIO_InitStruct.Mode = GPIO_MODE_AF_PP;
  GPIO_InitStruct.Pull = GPIO_NOPULL;
  GPIO_InitStruct.Speed = GPIO_SPEED_FREQ_LOW;
  GPIO_InitStruct.Alternate = GPIO_AF7_USART1;
  HAL_GPIO_Init(GPIOA, &GPIO_InitStruct);

  /*Configure GPIO pins : PC10 PC11 PC12 */
  GPIO_InitStruct.Pin = GPIO_PIN_10|GPIO_PIN_11|GPIO_PIN_12;
  GPIO_InitStruct.Mode = GPIO_MODE_AF_PP;
  GPIO_InitStruct.Pull = GPIO_NOPULL;
  GPIO_InitStruct.Speed = GPIO_SPEED_FREQ_LOW;
  GPIO_InitStruct.Alternate = GPIO_AF6_SPI3;
  HAL_GPIO_Init(GPIOC, &GPIO_InitStruct);

}

/* USER CODE BEGIN 4 */

/**
  * @brief Peripherals Common Clock Configuration
  * @retval None
  */
void PeriphCommonClock_Config(void)
{
  RCC_PeriphCLKInitTypeDef PeriphClkInitStruct = {0};

  /** Initializes the peripherals clock
  */
  PeriphClkInitStruct.PeriphClockSelection = RCC_PERIPHCLK_ADC;
  PeriphClkInitStruct.PLL2.PLL2M = 1;
  PeriphClkInitStruct.PLL2.PLL2N = 18;
  PeriphClkInitStruct.PLL2.PLL2P = 3;
  PeriphClkInitStruct.PLL2.PLL2Q = 2;
  PeriphClkInitStruct.PLL2.PLL2R = 2;
  PeriphClkInitStruct.PLL2.PLL2RGE = RCC_PLL2VCIRANGE_3;
  PeriphClkInitStruct.PLL2.PLL2VCOSEL = RCC_PLL2VCOMEDIUM;
  PeriphClkInitStruct.PLL2.PLL2FRACN = 6144;
  PeriphClkInitStruct.AdcClockSelection = RCC_ADCCLKSOURCE_PLL2;
  if (HAL_RCCEx_PeriphCLKConfig(&PeriphClkInitStruct) != HAL_OK)
  {
    Error_Handler();
  }
}

/* USER CODE END 4 */

void HAL_TIM_PeriodElapsedCallback(TIM_HandleTypeDef *htim)
{
  /* USER CODE BEGIN Callback 0 */
  if (htim->Instance == TIM2) {
	HAL_GPIO_TogglePin(GPIOB, CANLED_Pin);;
  }
  /* USER CODE END Callback 0 */
  if (htim->Instance == TIM7) {
    HAL_IncTick();
  }
}

void Error_Handler(void)
{
  /* USER CODE BEGIN Error_Handler_Debug */
  /* User can add his own implementation to report the HAL error return state */
  //__disable_irq();
  while (1)
  {
  }
  /* USER CODE END Error_Handler_Debug */
}
